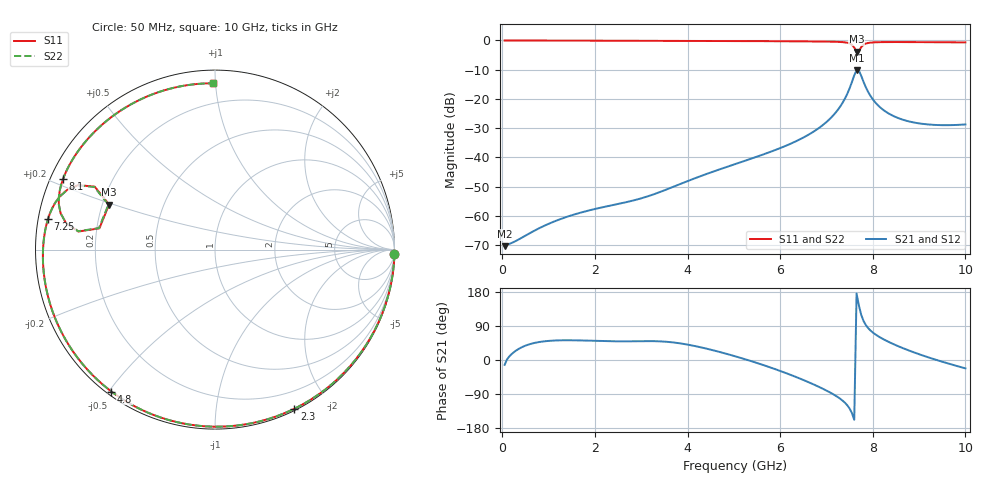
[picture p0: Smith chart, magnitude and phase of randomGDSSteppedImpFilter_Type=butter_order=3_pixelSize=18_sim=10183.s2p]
! freq	dB(S11)	phase(S11)	dB(S12)	phase(S12)
!  dB(S21)	phase(S21)	dB(S22)	phase(S22)
!S-par simulation data
#  GHz  S  DB  R 50
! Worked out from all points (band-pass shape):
!   200 points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, 50 MHz to 10 GHz, reference 50 ohm
!   highest |S21| = -10.21 dB at 7.65 GHz (marker M1); lowest = -70.4 dB at 50 MHz (marker M2)
!   |S21| within 3 dB of the highest: 7.572 GHz to 7.778 GHz (205.7 MHz wide, 2.68 % of centre)
!   lowest |S11| = -3.9 dB at 7.65 GHz (marker M3), VSWR 4.58, Z = 11.4 + j9.69 ohm
!   |S11| at or under -10 dB: nowhere
!   |S22| runs from -3.8 to 0.0 dB; largest |S21 - S12| = 0
!   S11 on the Smith chart (normalised r, x): 50 MHz: 0, -80; 2.3 GHz: 0.02, -1.62; 4.8 GHz: 0.01, -0.51; 7.25 GHz: 0.03, +0.09; 8.1 GHz: 0.04, +0.22; 10 GHz: 0.08, +0.99
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0.05  -0.00 -1.4  -70.38 -12.8  -70.38 -12.8  -0.00 -1.4
0.85  -0.03 -24.1  -63.82 48.4  -63.82 48.4  -0.03 -24.0
1.75  -0.06 -48.8  -58.65 51.4  -58.65 51.4  -0.06 -48.8
2.3  -0.08 -63.5  -56.61 49.6  -56.61 49.6  -0.08 -63.4
3.4  -0.12 -91.7  -51.88 49.2  -51.88 49.2  -0.12 -91.7
4.1  -0.15 -109.1  -47.51 38.3  -47.51 38.3  -0.15 -109.0
4.8  -0.18 -126.1  -43.52 17.7  -43.52 17.7  -0.18 -126.1
5.05  -0.20 -132.2  -42.18 9.1  -42.18 9.1  -0.20 -132.1
5.9  -0.26 -153.0  -37.45 -24.4  -37.45 -24.4  -0.26 -152.9
6.7  -0.34 -173.7  -31.41 -63.2  -31.41 -63.2  -0.34 -173.6
7.25  -0.48 169.7  -23.64 -98.3  -23.64 -98.3  -0.48 169.8
7.4  -0.66 163.5  -19.87 -112.9  -19.87 -112.9  -0.65 163.6
7.55  -1.48 154.8  -14.21 -140.1  -14.21 -140.1  -1.47 155.0
7.6  -2.43 152.4  -11.92 -158.0  -11.92 -158.0  -2.40 152.6
7.65  -3.86 156.9  -10.21 175.3  -10.21 175.3  -3.81 157.1
7.7  -3.68 169.6  -10.33 144.1  -10.33 144.1  -3.64 169.5
7.75  -2.30 172.5  -12.06 119.4  -12.06 119.4  -2.28 172.4
7.85  -1.08 166.8  -16.02 92.2  -16.02 92.2  -1.07 166.7
8.1  -0.60 155.2  -21.99 64.0  -21.99 64.0  -0.60 155.2
8.35  -0.54 146.3  -25.05 47.4  -25.05 47.4  -0.54 146.4
9.05  -0.58 123.4  -28.49 13.1  -28.49 13.1  -0.58 123.4
10  -0.66 90.6  -28.74 -22.1  -28.74 -22.1  -0.66 90.7
